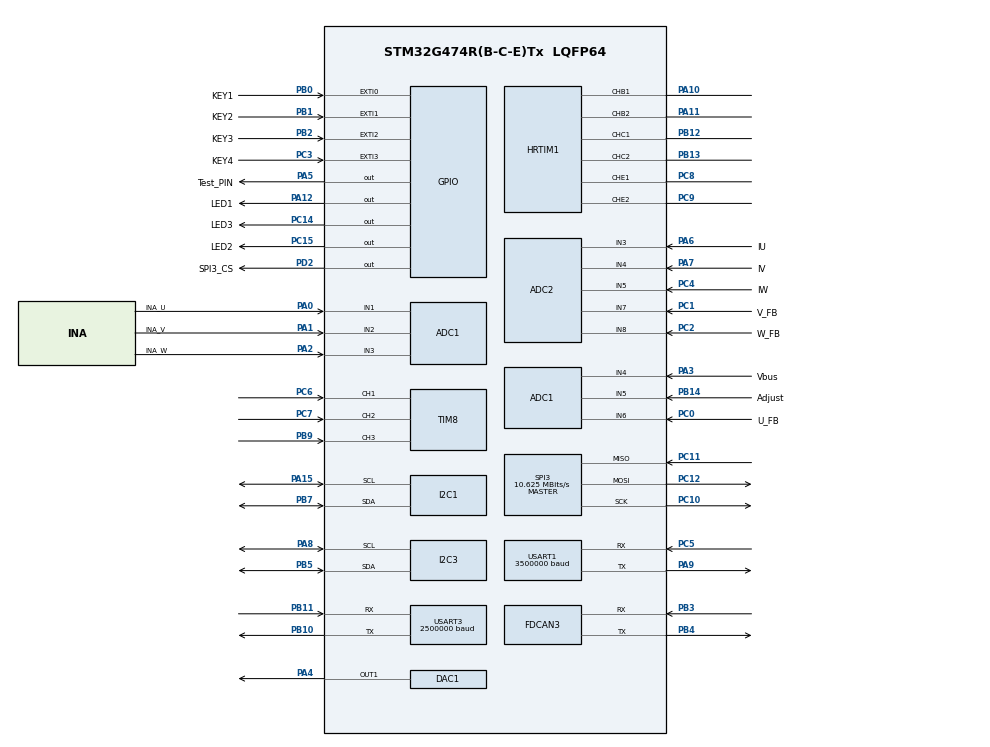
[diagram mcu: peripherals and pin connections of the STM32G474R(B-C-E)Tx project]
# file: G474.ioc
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ADC1.Channel-0\#ChannelRegularConversion=ADC_CHANNEL_4
ADC1.Channel-1\#ChannelRegularConversion=ADC_CHANNEL_5
ADC1.Channel-2\#ChannelRegularConversion=ADC_CHANNEL_6
ADC1.ClockPrescaler=ADC_CLOCK_SYNC_PCLK_DIV4
ADC1.ContinuousConvMode=ENABLE
ADC1.DMAContinuousRequests=DISABLE
ADC1.DiscontinuousConvMode=DISABLE
ADC1.EOCSelection=ADC_EOC_SEQ_CONV
ADC1.EnableInjectedConversion=ENABLE
ADC1.ExternalTrigInjecConv=ADC_EXTERNALTRIGINJEC_HRTIM_TRG2
ADC1.ExternalTrigInjecConvEdge=ADC_EXTERNALTRIGINJECCONV_EDGE_RISINGFALLING
ADC1.InjNumberOfConversion=3
ADC1.InjectedChannel-3\#ChannelInjectedConversion=ADC_CHANNEL_1
ADC1.InjectedChannel-4\#ChannelInjectedConversion=ADC_CHANNEL_2
ADC1.InjectedChannel-5\#ChannelInjectedConversion=ADC_CHANNEL_3
ADC1.InjectedConvMode=None
ADC1.InjectedOffsetNumber-3\#ChannelInjectedConversion=ADC_OFFSET_NONE
ADC1.InjectedOffsetNumber-4\#ChannelInjectedConversion=ADC_OFFSET_NONE
ADC1.InjectedOffsetNumber-5\#ChannelInjectedConversion=ADC_OFFSET_NONE
ADC1.InjectedRank-3\#ChannelInjectedConversion=1
ADC1.InjectedRank-4\#ChannelInjectedConversion=2
ADC1.InjectedRank-5\#ChannelInjectedConversion=3
ADC1.InjectedSamplingTime-3\#ChannelInjectedConversion=ADC_SAMPLETIME_2CYCLES_5
ADC1.InjectedSamplingTime-4\#ChannelInjectedConversion=ADC_SAMPLETIME_2CYCLES_5
ADC1.InjectedSamplingTime-5\#ChannelInjectedConversion=ADC_SAMPLETIME_2CYCLES_5
ADC1.NbrOfConversion=3
ADC1.NbrOfConversionFlag=1
ADC1.OffsetNumber-0\#ChannelRegularConversion=ADC_OFFSET_NONE
ADC1.OffsetNumber-1\#ChannelRegularConversion=ADC_OFFSET_NONE
ADC1.OffsetNumber-2\#ChannelRegularConversion=ADC_OFFSET_NONE
ADC1.Overrun=ADC_OVR_DATA_OVERWRITTEN
ADC1.Rank-0\#ChannelRegularConversion=1
ADC1.Rank-1\#ChannelRegularConversion=2
ADC1.Rank-2\#ChannelRegularConversion=3
ADC1.Rank1_Channel=ADC_CHANNEL_1
ADC1.Rank2_Channel=ADC_CHANNEL_2
ADC1.Rank3_Channel=ADC_CHANNEL_3
ADC1.SamplingTime-0\#ChannelRegularConversion=ADC_SAMPLETIME_2CYCLES_5
ADC1.SamplingTime-1\#ChannelRegularConversion=ADC_SAMPLETIME_2CYCLES_5
ADC1.SamplingTime-2\#ChannelRegularConversion=ADC_SAMPLETIME_2CYCLES_5
ADC1.master=1
ADC2.Channel-0\#ChannelRegularConversion=ADC_CHANNEL_7
ADC2.Channel-1\#ChannelRegularConversion=ADC_CHANNEL_8
ADC2.ContinuousConvMode=ENABLE
ADC2.DMAContinuousRequests=DISABLE
ADC2.EOCSelection=ADC_EOC_SEQ_CONV
ADC2.EnableInjectedConversion=ENABLE
ADC2.EnableInjectedOversampling=DISABLE
ADC2.ExternalTrigInjecConv=ADC_EXTERNALTRIGINJEC_HRTIM_TRG4
ADC2.InjNumberOfConversion=3
ADC2.InjectedChannel-2\#ChannelInjectedConversion=ADC_CHANNEL_3
ADC2.InjectedChannel-3\#ChannelInjectedConversion=ADC_CHANNEL_4
ADC2.InjectedChannel-4\#ChannelInjectedConversion=ADC_CHANNEL_5
ADC2.InjectedConvMode=None
ADC2.InjectedOffsetNumber-2\#ChannelInjectedConversion=ADC_OFFSET_NONE
ADC2.InjectedOffsetNumber-3\#ChannelInjectedConversion=ADC_OFFSET_NONE
ADC2.InjectedOffsetNumber-4\#ChannelInjectedConversion=ADC_OFFSET_NONE
ADC2.InjectedRank-2\#ChannelInjectedConversion=1
ADC2.InjectedRank-3\#ChannelInjectedConversion=2
ADC2.InjectedRank-4\#ChannelInjectedConversion=3
ADC2.InjectedSamplingTime-2\#ChannelInjectedConversion=ADC_SAMPLETIME_12CYCLES_5
ADC2.InjectedSamplingTime-3\#ChannelInjectedConversion=ADC_SAMPLETIME_12CYCLES_5
ADC2.InjectedSamplingTime-4\#ChannelInjectedConversion=ADC_SAMPLETIME_12CYCLES_5
ADC2.NbrOfConversion=2
ADC2.NbrOfConversionFlag=1
ADC2.OffsetNumber-0\#ChannelRegularConversion=ADC_OFFSET_NONE
ADC2.OffsetNumber-1\#ChannelRegularConversion=ADC_OFFSET_NONE
ADC2.Overrun=ADC_OVR_DATA_OVERWRITTEN
ADC2.Rank-0\#ChannelRegularConversion=1
ADC2.Rank-1\#ChannelRegularConversion=2
ADC2.Rank1_Channel=ADC_CHANNEL_3
ADC2.Rank2_Channel=ADC_CHANNEL_4
ADC2.Rank3_Channel=ADC_CHANNEL_5
ADC2.SamplingTime-0\#ChannelRegularConversion=ADC_SAMPLETIME_2CYCLES_5
ADC2.SamplingTime-1\#ChannelRegularConversion=ADC_SAMPLETIME_2CYCLES_5
ADC2.injectedQueueMode=DISABLE
DAC1.DAC_HighFrequency_OUT1-DAC_OUT1=DAC_HIGH_FREQUENCY_INTERFACE_MODE_ABOVE_160MHZ
Dma.Request0=USART1_RX
Dma.Request1=USART1_TX
Dma.Request2=USART3_RX
Dma.USART1_RX.0.Direction=DMA_PERIPH_TO_MEMORY
Dma.USART1_RX.0.EventEnable=DISABLE
Dma.USART1_RX.0.Instance=DMA1_Channel1
Dma.USART1_RX.0.MemDataAlignment=DMA_MDATAALIGN_BYTE
Dma.USART1_RX.0.MemInc=DMA_MINC_ENABLE
Dma.USART1_RX.0.Mode=DMA_NORMAL
Dma.USART1_RX.0.PeriphDataAlignment=DMA_PDATAALIGN_BYTE
Dma.USART1_RX.0.PeriphInc=DMA_PINC_DISABLE
Dma.USART1_RX.0.Polarity=HAL_DMAMUX_REQ_GEN_RISING
Dma.USART1_RX.0.Priority=DMA_PRIORITY_LOW
Dma.USART1_RX.0.RequestNumber=1
Dma.USART1_RX.0.SignalID=NONE
Dma.USART1_RX.0.SyncEnable=DISABLE
Dma.USART1_RX.0.SyncPolarity=HAL_DMAMUX_SYNC_NO_EVENT
Dma.USART1_RX.0.SyncRequestNumber=1
Dma.USART1_RX.0.SyncSignalID=NONE
Dma.USART1_TX.1.Direction=DMA_MEMORY_TO_PERIPH
Dma.USART1_TX.1.EventEnable=DISABLE
Dma.USART1_TX.1.Instance=DMA1_Channel2
Dma.USART1_TX.1.MemDataAlignment=DMA_MDATAALIGN_BYTE
Dma.USART1_TX.1.MemInc=DMA_MINC_ENABLE
Dma.USART1_TX.1.Mode=DMA_NORMAL
Dma.USART1_TX.1.PeriphDataAlignment=DMA_PDATAALIGN_BYTE
Dma.USART1_TX.1.PeriphInc=DMA_PINC_DISABLE
Dma.USART1_TX.1.Polarity=HAL_DMAMUX_REQ_GEN_RISING
Dma.USART1_TX.1.Priority=DMA_PRIORITY_LOW
Dma.USART1_TX.1.RequestNumber=1
Dma.USART1_TX.1.SignalID=NONE
Dma.USART1_TX.1.SyncEnable=DISABLE
Dma.USART1_TX.1.SyncPolarity=HAL_DMAMUX_SYNC_NO_EVENT
Dma.USART1_TX.1.SyncRequestNumber=1
Dma.USART1_TX.1.SyncSignalID=NONE
Dma.USART3_RX.2.Direction=DMA_PERIPH_TO_MEMORY
Dma.USART3_RX.2.EventEnable=DISABLE
Dma.USART3_RX.2.Instance=DMA1_Channel3
Dma.USART3_RX.2.MemDataAlignment=DMA_MDATAALIGN_BYTE
Dma.USART3_RX.2.MemInc=DMA_MINC_ENABLE
Dma.USART3_RX.2.Mode=DMA_NORMAL
Dma.USART3_RX.2.PeriphDataAlignment=DMA_PDATAALIGN_BYTE
Dma.USART3_RX.2.PeriphInc=DMA_PINC_DISABLE
Dma.USART3_RX.2.Polarity=HAL_DMAMUX_REQ_GEN_RISING
Dma.USART3_RX.2.Priority=DMA_PRIORITY_MEDIUM
Dma.USART3_RX.2.RequestNumber=1
Dma.USART3_RX.2.SignalID=NONE
Dma.USART3_RX.2.SyncEnable=DISABLE
Dma.USART3_RX.2.SyncPolarity=HAL_DMAMUX_SYNC_NO_EVENT
Dma.USART3_RX.2.SyncRequestNumber=1
Dma.USART3_RX.2.SyncSignalID=NONE
FDCAN3.CalculateBaudRateNominal=2125000
FDCAN3.CalculateTimeBitNominal=470
FDCAN3.CalculateTimeQuantumNominal=94.11764705882354
HRTIM1.ADCTrigger2_Source1=HRTIM_ADCTRIGGEREVENT24_TIMERC_RESET
HRTIM1.ADCTrigger4_Source1=HRTIM_ADCTRIGGEREVENT24_TIMERC_CMP4
HRTIM1.ADCTrigger_Id1=__NULL
HRTIM1.ADCTrigger_Id2=HRTIM_ADCTRIGGER_2
HRTIM1.ADCTrigger_Id4=HRTIM_ADCTRIGGER_4
HRTIM1.Adrom_TB=HRTIM_TIM_ADROM_BOTH
HRTIM1.Adrom_TC=HRTIM_TIM_ADROM_BOTH
HRTIM1.Adrom_TE=HRTIM_TIM_ADROM_BOTH
HRTIM1.CompareUnit1-Output_TB1TB2=HRTIM_COMPAREUNIT_1
HRTIM1.CompareUnit1-Output_TC1TC2=HRTIM_COMPAREUNIT_1
HRTIM1.CompareUnit1-Output_TE1TE2=HRTIM_COMPAREUNIT_1
HRTIM1.CompareUnit2-Output_TB1TB2=__NULL
HRTIM1.CompareUnit2-Output_TC1TC2=__NULL
HRTIM1.CompareUnit2-Output_TE1TE2=__NULL
HRTIM1.CompareUnit3-Output_TC1TC2=__NULL
HRTIM1.CompareUnit4-Output_TC1TC2=HRTIM_COMPAREUNIT_4
HRTIM1.CompareValue1-Output_TB1TB2=17000
HRTIM1.CompareValue1-Output_TC1TC2=17000
HRTIM1.CompareValue1-Output_TE1TE2=17000
HRTIM1.CompareValue4-Output_TC1TC2=0xc
HRTIM1.DeadTimeInsertion-Output_TB1TB2=HRTIM_TIMDEADTIMEINSERTION_ENABLED
HRTIM1.DeadTimeInsertion-Output_TC1TC2=HRTIM_TIMDEADTIMEINSERTION_ENABLED
HRTIM1.DeadTimeInsertion-Output_TE1TE2=HRTIM_TIMDEADTIMEINSERTION_ENABLED
HRTIM1.Deadtimeconfig-Output_TB1TB2=HRTIM_TIMERINDEX_TIMER_B
HRTIM1.Enable=HRTIM_BURSTMODECTL_DISABLED
HRTIM1.Event_EEV2=HRTIM_EVENT_2
HRTIM1.Event_EEV3=HRTIM_EVENT_3
HRTIM1.Event_EEV4=HRTIM_EVENT_4
HRTIM1.FallingValue-Output_TB1TB2=9
HRTIM1.FallingValue-Output_TC1TC2=9
HRTIM1.FallingValue-Output_TE1TE2=9
HRTIM1.FastMode_EEV2=HRTIM_EVENTFASTMODE_ENABLE
HRTIM1.FastMode_EEV3=HRTIM_EVENTFASTMODE_ENABLE
HRTIM1.FastMode_EEV4=HRTIM_EVENTFASTMODE_ENABLE
HRTIM1.FaultLevel1-Output_TB1TB2=HRTIM_OUTPUTFAULTLEVEL_INACTIVE
HRTIM1.FaultLevel1-Output_TC1TC2=HRTIM_OUTPUTFAULTLEVEL_INACTIVE
HRTIM1.FaultLevel1-Output_TE1TE2=HRTIM_OUTPUTFAULTLEVEL_INACTIVE
HRTIM1.FaultLevel2-Output_TB1TB2=HRTIM_OUTPUTFAULTLEVEL_INACTIVE
HRTIM1.FaultLevel2-Output_TC1TC2=HRTIM_OUTPUTFAULTLEVEL_INACTIVE
HRTIM1.FaultLevel2-Output_TE1TE2=HRTIM_OUTPUTFAULTLEVEL_INACTIVE
HRTIM1.Fault_Line4=__NULL
HRTIM1.Ferom_TC=HRTIM_TIM_FEROM_BOTH
HRTIM1.NumberADCTriggerSource2=1
HRTIM1.NumberADCTriggerSource4=1
HRTIM1.NumberResetSource1-Output_TB1TB2=0
HRTIM1.NumberResetSource1-Output_TC1TC2=0
HRTIM1.NumberResetSource1-Output_TE1TE2=0
HRTIM1.NumberSetSource1-Output_TB1TB2=1
HRTIM1.NumberSetSource1-Output_TC1TC2=1
HRTIM1.NumberSetSource1-Output_TE1TE2=1
HRTIM1.ORingUpdateSource_ADCTrigger2=HRTIM_ADCTRIGGERUPDATE_TIMER_C
HRTIM1.ORingUpdateSource_ADCTrigger4=HRTIM_ADCTRIGGERUPDATE_TIMER_C
HRTIM1.Periode_TB=34000
HRTIM1.Periode_TC=34000
HRTIM1.Periode_TE=34000
HRTIM1.PreloadEnable-Output_TB1TB2=HRTIM_PRELOAD_DISABLED
HRTIM1.PreloadEnable-Output_TC1TC2=HRTIM_PRELOAD_DISABLED
HRTIM1.PreloadEnable-Output_TE1TE2=HRTIM_PRELOAD_DISABLED
HRTIM1.PrescalerDead-Output_TB1TB2=HRTIM_TIMDEADTIME_PRESCALERRATIO_DIV4
HRTIM1.PrescalerDead-Output_TC1TC2=HRTIM_TIMDEADTIME_PRESCALERRATIO_DIV4
HRTIM1.PrescalerDead-Output_TE1TE2=HRTIM_TIMDEADTIME_PRESCALERRATIO_DIV4
HRTIM1.PrescalerRatio_TB=HRTIM_PRESCALERRATIO_MUL4
HRTIM1.PrescalerRatio_TC=HRTIM_PRESCALERRATIO_MUL4
HRTIM1.PrescalerRatio_TE=HRTIM_PRESCALERRATIO_MUL4
HRTIM1.RepetitionUpdate-Output_TB1TB2=HRTIM_UPDATEONREPETITION_DISABLED
HRTIM1.ResetUpdate-Output_TC1TC2=HRTIM_TIMUPDATEONRESET_DISABLED
HRTIM1.RisingValue-Output_TB1TB2=9
HRTIM1.RisingValue-Output_TC1TC2=9
HRTIM1.RisingValue-Output_TE1TE2=9
HRTIM1.SetOutput1_Source1-Output_TB1TB2=HRTIM_OUTPUTSET_TIMCMP1
HRTIM1.SetOutput1_Source1-Output_TC1TC2=HRTIM_OUTPUTSET_TIMCMP1
HRTIM1.SetOutput1_Source1-Output_TE1TE2=HRTIM_OUTPUTSET_TIMCMP1
HRTIM1.UpDownMode-Output_TB1TB2=HRTIM_TIMERUPDOWNMODE_UPDOWN
HRTIM1.UpDownMode-Output_TC1TC2=HRTIM_TIMERUPDOWNMODE_UPDOWN
HRTIM1.UpDownMode-Output_TE1TE2=HRTIM_TIMERUPDOWNMODE_UPDOWN
HRTIM1.postscaler2=0
I2C1.Timing=0x30A0A7FB
I2C3.Timing=0x30A0A7FB
Mcu.Family=STM32G4
Mcu.Name=STM32G474R(B-C-E)Tx
Mcu.Package=LQFP64
NVIC.ADC1_2_IRQn=true\:0\:0\:false\:false\:true\:true\:true\:true
NVIC.DMA1_Channel1_IRQn=true\:0\:0\:false\:false\:true\:false\:true\:true
NVIC.DMA1_Channel2_IRQn=true\:0\:0\:false\:false\:true\:false\:true\:true
NVIC.DMA1_Channel3_IRQn=true\:0\:0\:false\:false\:true\:false\:true\:true
NVIC.EXTI0_IRQn=true\:0\:0\:true\:false\:true\:true\:true\:true
NVIC.EXTI1_IRQn=true\:0\:0\:true\:false\:true\:true\:true\:true
NVIC.EXTI2_IRQn=true\:0\:0\:true\:false\:true\:true\:true\:true
NVIC.EXTI3_IRQn=true\:0\:0\:true\:false\:true\:true\:true\:true
NVIC.PriorityGroup=NVIC_PRIORITYGROUP_4
NVIC.USART1_IRQn=true\:0\:0\:true\:false\:true\:true\:true\:true
NVIC.USART3_IRQn=true\:0\:0\:true\:false\:true\:true\:true\:true
PA0.GPIO_Label=INA_U
PA0.Mode=IN1-Single-Ended
PA0.Signal=ADC1_IN1
PA1.GPIO_Label=INA_V
PA1.Mode=IN2-Single-Ended
PA1.Signal=ADC1_IN2
PA10.Mode=Output_TB1TB2
PA10.Signal=HRTIM1_CHB1
PA11.Mode=Output_TB1TB2
PA11.Signal=HRTIM1_CHB2
PA12.GPIO_Label=LED1
PA12.Signal=GPIO_Output
PA13.Mode=Serial_Wire
PA13.Signal=SYS_JTMS-SWDIO
PA14.Mode=Serial_Wire
PA14.Signal=SYS_JTCK-SWCLK
PA15.Mode=I2C
PA15.Signal=I2C1_SCL
PA2.GPIO_Label=INA_W
PA2.Mode=IN3-Single-Ended
PA2.Signal=ADC1_IN3
PA3.GPIO_Label=Vbus
PA3.Mode=IN4-Single-Ended
PA3.Signal=ADC1_IN4
PA4.Signal=COMP_DAC11_group
PA5.GPIO_Label=Test_PIN
PA5.GPIO_Speed=GPIO_SPEED_FREQ_VERY_HIGH
PA5.Signal=GPIO_Output
PA6.GPIO_Label=IU
PA6.Mode=IN3-Single-Ended
PA6.Signal=ADC2_IN3
PA7.GPIO_Label=IV
PA7.Mode=IN4-Single-Ended
PA7.Signal=ADC2_IN4
PA8.Mode=I2C
PA8.Signal=I2C3_SCL
PA9.Mode=Asynchronous
PA9.Signal=USART1_TX
PB0.GPIO_Label=KEY1
PB0.Signal=GPXTI0
PB1.GPIO_Label=KEY2
PB1.Signal=GPXTI1
PB10.GPIO_Speed=GPIO_SPEED_FREQ_VERY_HIGH
PB10.Mode=Asynchronous
PB10.Signal=USART3_TX
PB11.GPIO_Speed=GPIO_SPEED_FREQ_VERY_HIGH
PB11.Mode=Asynchronous
PB11.Signal=USART3_RX
PB12.Mode=Output_TC1TC2
PB12.Signal=HRTIM1_CHC1
PB13.Mode=Output_TC1TC2
PB13.Signal=HRTIM1_CHC2
PB14.GPIO_Label=Adjust
PB14.Mode=IN5-Single-Ended
PB14.Signal=ADC1_IN5
PB2.GPIO_Label=KEY3
PB2.Signal=GPXTI2
PB3.Mode=FDCAN_Activate
PB3.Signal=FDCAN3_RX
PB4.Mode=FDCAN_Activate
PB4.Signal=FDCAN3_TX
PB5.Mode=I2C
PB5.Signal=I2C3_SDA
PB7.Mode=I2C
PB7.Signal=I2C1_SDA
PB9.Signal=S_TIM8_CH3
PC0.GPIO_Label=U_FB
PC0.Mode=IN6-Single-Ended
PC0.Signal=ADC1_IN6
PC1.GPIO_Label=V_FB
PC1.Mode=IN7-Single-Ended
PC1.Signal=ADC2_IN7
PC10.Mode=Full_Duplex_Master
PC10.Signal=SPI3_SCK
PC11.Mode=Full_Duplex_Master
PC11.Signal=SPI3_MISO
PC12.Mode=Full_Duplex_Master
PC12.Signal=SPI3_MOSI
PC14-OSC32_IN.GPIO_Label=LED3
PC14-OSC32_IN.Signal=GPIO_Output
PC15-OSC32_OUT.GPIO_Label=LED2
PC15-OSC32_OUT.Signal=GPIO_Output
PC2.GPIO_Label=W_FB
PC2.Mode=IN8-Single-Ended
PC2.Signal=ADC2_IN8
PC3.GPIO_Label=KEY4
PC3.Signal=GPXTI3
PC4.GPIO_Label=IW
PC4.Mode=IN5-Single-Ended
PC4.Signal=ADC2_IN5
PC5.Mode=Asynchronous
PC5.Signal=USART1_RX
PC6.Signal=S_TIM8_CH1
PC7.Signal=S_TIM8_CH2
PC8.Mode=Output_TE1TE2
PC8.Signal=HRTIM1_CHE1
PC9.Mode=Output_TE1TE2
PC9.Signal=HRTIM1_CHE2
PD2.GPIO_Label=SPI3_CS
PD2.Signal=GPIO_Output
PF0-OSC_IN.Mode=HSE-External-Oscillator
PF0-OSC_IN.Signal=RCC_OSC_IN
PF1-OSC_OUT.Mode=HSE-External-Oscillator
PF1-OSC_OUT.Signal=RCC_OSC_OUT
ProjectManager.HeapSize=0x200
ProjectManager.StackSize=0x400
ProjectManager.TargetToolchain=MDK-ARM V5.32
RCC.ADC12CLockSelection=RCC_ADC12CLKSOURCE_PLL
RCC.ADC12Freq_Value=170000000
RCC.ADC345Freq_Value=170000000
RCC.AHBFreq_Value=170000000
RCC.APB1Freq_Value=170000000
RCC.APB1TimFreq_Value=170000000
RCC.APB2CLKDivider=RCC_HCLK_DIV2
RCC.APB2Freq_Value=85000000
RCC.APB2TimFreq_Value=170000000
RCC.CortexFreq_Value=170000000
RCC.EXTERNAL_CLOCK_VALUE=12288000
RCC.HCLKFreq_Value=170000000
RCC.HSE_VALUE=12000000
RCC.HSI48_VALUE=48000000
RCC.HSI_VALUE=16000000
RCC.LSE_VALUE=32768
RCC.PLLM=RCC_PLLM_DIV3
RCC.PLLN=85
RCC.PLLSourceVirtual=RCC_PLLSOURCE_HSE
RCC.SYSCLKFreq_VALUE=170000000
RCC.SYSCLKSource=RCC_SYSCLKSOURCE_PLLCLK
RCC.USBFreq_Value=170000000
RCC.VCOOutputFreq_Value=340000000
SH.COMP_DAC11_group.0=DAC1_OUT1,DAC_OUT1
SH.S_TIM8_CH1.0=TIM8_CH1,Xored_Inputs_Hall_Sensor_Interface
SH.S_TIM8_CH2.0=TIM8_CH2,Xored_Inputs_Hall_Sensor_Interface
SH.S_TIM8_CH3.0=TIM8_CH3,Xored_Inputs_Hall_Sensor_Interface
SPI3.BaudRatePrescaler=SPI_BAUDRATEPRESCALER_16
SPI3.CalculateBaudRate=10.625 MBits/s
SPI3.DataSize=SPI_DATASIZE_16BIT
SPI3.Direction=SPI_DIRECTION_2LINES
SPI3.Mode=SPI_MODE_MASTER
SPI3.VirtualType=VM_MASTER
STMicroelectronics.X-CUBE-ALGOBUILD.1.4.0.LibraryCcDSPOoLibraryJjDSPOoLibrary=true
USART1.BaudRate=3500000
USART1.VirtualMode-Asynchronous=VM_ASYNC
USART3.BaudRate=2500000
USART3.VirtualMode-Asynchronous=VM_ASYNC
VP_CORDIC_VS_CORDIC.Mode=CORDIC_Activate
VP_HRTIM1_VS_hrtimMasterTimerNoOutput.Mode=MasterTimer
VP_STMicroelectronics.X-CUBE-ALGOBUILD_VS_DSPOoLibraryJjLibrary_1.4.0_1.4.0.Mode=DSPOoLibraryJjLibrary
VP_SYS_VS_DBSignals.Mode=DisableDeadBatterySignals
board=custom

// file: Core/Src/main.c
/* USER CODE BEGIN Header */
/**
  ******************************************************************************
  * @file           : main.c
  * @brief          : Main program body
  ******************************************************************************
  * @attention
  *
  * Copyright (c) 2024 STMicroelectronics.
  * All rights reserved.
  *
  * This software is licensed under terms that can be found in the LICENSE file
  * in the root directory of this software component.
  * If no LICENSE file comes with this software, it is provided AS-IS.
  *
  ******************************************************************************
  */
/* USER CODE END Header */
#include "main.h"
#include "adc.h"
#include "cordic.h"
#include "dac.h"
#include "dma.h"
#include "fdcan.h"
#include "hrtim.h"
#include "i2c.h"
#include "spi.h"
#include "tim.h"
#include "usart.h"
#include "gpio.h"

/* USER CODE BEGIN Includes */
#include "serial.h"

#include "mc_lib.h"
#include "cordic_calc.h"
#include "IF_StateMachine.h"
#include "PI.h"
/* USER CODE END Includes */

/* USER CODE BEGIN PTD */
int Run_Flag = 1;
/* USER CODE END PTD */

/* USER CODE BEGIN PM */
uint16_t aDST_Buffer1[ADC1_BUFFER_SIZE]; //Adjust, V_FB, Vbus,
uint16_t aDST_Buffer2[ADC2_BUFFER_SIZE]; //U_FB, W_FB
/* USER CODE END PM */

/* USER CODE BEGIN PV */
extern uint8_t rxBuffer_uart1[BUFFER_SIZE_UART1];
extern uint8_t rxBuffer_uart3[BUFFER_SIZE_UART3];
float Adjust, V_FB, Vbus, U_FB, W_FB;
extern float speedRef;

/* USER CODE END PV */

void SystemClock_Config(void);

/* USER CODE BEGIN 0 */
void ADC_Regular_DMA_Start(void);
void UART_RX_Idle_Start(void);
/* USER CODE END 0 */

int main(void)
{

  /* MCU Configuration--------------------------------------------------------*/

  /* Reset of all peripherals, Initializes the Flash interface and the Systick. */
  HAL_Init();

  /* Configure the system clock */
  SystemClock_Config();

  /* Initialize all configured peripherals */
  MX_GPIO_Init();
  MX_DMA_Init();
  MX_HRTIM1_Init();
  MX_ADC1_Init();
  MX_ADC2_Init();
  MX_DAC1_Init();
  MX_FDCAN3_Init();
  MX_I2C1_Init();
  MX_I2C3_Init();
  MX_SPI3_Init();
  MX_TIM8_Init();
  MX_USART1_UART_Init();
  MX_USART3_UART_Init();
  MX_CORDIC_Init();
  /* USER CODE BEGIN 2 */
//	__HAL_UART_CLEAR_FLAG(&huart3, UART_CLEAR_IDLEF);
	HAL_UARTEx_ReceiveToIdle_DMA(&huart1, rxBuffer_uart1, BUFFER_SIZE_UART1);
	HAL_UARTEx_ReceiveToIdle_DMA(&huart3, rxBuffer_uart3, BUFFER_SIZE_UART3);
	Run_Flag = 0;
	HRTIM_Start();
	ADC_Start();
	PI_Initialize();

	FOC_handler.Vbus = 30.0F;
	SVM_handler.PWMtimerCounts = 17000.0F;
	encoder_Handler.offsetPos = 0.16F;
	speedRef = 800.0F;

	LL_DAC_Enable(DAC1, LL_DAC_CHANNEL_1);

  /* Set duty to 0 */
  LL_HRTIM_TIM_SetCompare1(HRTIM1, LL_HRTIM_TIMER_B, 0);
  LL_HRTIM_TIM_SetCompare1(HRTIM1, LL_HRTIM_TIMER_C, 0);
  LL_HRTIM_TIM_SetCompare1(HRTIM1, LL_HRTIM_TIMER_E, 0);

  /* USER CODE END 2 */

  /* Infinite loop */
  while (1)
  {

  }
}

void SystemClock_Config(void)
{
  LL_FLASH_SetLatency(LL_FLASH_LATENCY_4);
  while(LL_FLASH_GetLatency() != LL_FLASH_LATENCY_4)
  {
  }
  LL_PWR_EnableRange1BoostMode();
  LL_RCC_HSE_Enable();
   /* Wait till HSE is ready */
  while(LL_RCC_HSE_IsReady() != 1)
  {
  }

  LL_RCC_PLL_ConfigDomain_SYS(LL_RCC_PLLSOURCE_HSE, LL_RCC_PLLM_DIV_3, 85, LL_RCC_PLLR_DIV_2);
  LL_RCC_PLL_ConfigDomain_ADC(LL_RCC_PLLSOURCE_HSE, LL_RCC_PLLM_DIV_3, 85, LL_RCC_PLLP_DIV_2);
  LL_RCC_PLL_EnableDomain_SYS();
  LL_RCC_PLL_EnableDomain_ADC();
  LL_RCC_PLL_Enable();
   /* Wait till PLL is ready */
  while(LL_RCC_PLL_IsReady() != 1)
  {
  }

  LL_RCC_SetSysClkSource(LL_RCC_SYS_CLKSOURCE_PLL);
  LL_RCC_SetAHBPrescaler(LL_RCC_SYSCLK_DIV_2);
   /* Wait till System clock is ready */
  while(LL_RCC_GetSysClkSource() != LL_RCC_SYS_CLKSOURCE_STATUS_PLL)
  {
  }

  /* Insure 1us transition state at intermediate medium speed clock*/
  for (__IO uint32_t i = (170 >> 1); i !=0; i--);

  /* Set AHB prescaler*/
  LL_RCC_SetAHBPrescaler(LL_RCC_SYSCLK_DIV_1);
  LL_RCC_SetAPB1Prescaler(LL_RCC_APB1_DIV_1);
  LL_RCC_SetAPB2Prescaler(LL_RCC_APB2_DIV_2);
  LL_SetSystemCoreClock(170000000);

   /* Update the time base */
  if (HAL_InitTick (TICK_INT_PRIORITY) != HAL_OK)
  {
    Error_Handler();
  }
}

/* USER CODE BEGIN 4 */
void ADC_Regular_DMA_Start(void)
{
	LL_DMA_SetDataLength(DMA1,LL_DMA_CHANNEL_5,ADC1_BUFFER_SIZE);
	LL_DMA_SetPeriphAddress(DMA1,LL_DMA_CHANNEL_5,LL_ADC_DMA_GetRegAddr(ADC1, LL_ADC_DMA_REG_REGULAR_DATA));
	LL_DMA_SetMemoryAddress(DMA1,LL_DMA_CHANNEL_5,(uint32_t)aDST_Buffer1);
	LL_DMA_EnableChannel(DMA1,LL_DMA_CHANNEL_5);
	LL_ADC_REG_SetDMATransfer(ADC1,LL_ADC_REG_DMA_TRANSFER_UNLIMITED);

	LL_DMA_SetDataLength(DMA1,LL_DMA_CHANNEL_6,ADC2_BUFFER_SIZE);
	LL_DMA_SetPeriphAddress(DMA1,LL_DMA_CHANNEL_6,LL_ADC_DMA_GetRegAddr(ADC2, LL_ADC_DMA_REG_REGULAR_DATA));
	LL_DMA_SetMemoryAddress(DMA1,LL_DMA_CHANNEL_6,(uint32_t)aDST_Buffer2);
	LL_DMA_EnableChannel(DMA1,LL_DMA_CHANNEL_6);
	LL_ADC_REG_SetDMATransfer(ADC1,LL_ADC_REG_DMA_TRANSFER_UNLIMITED);
}

void UART_RX_Idle_Start(void)
{
	HAL_UARTEx_ReceiveToIdle_DMA(&huart1, rxBuffer_uart1, BUFFER_SIZE_UART1);
	HAL_UARTEx_ReceiveToIdle_DMA(&huart3, rxBuffer_uart3, BUFFER_SIZE_UART3);
}

/* USER CODE END 4 */

void Error_Handler(void)
{
  __disable_irq();
  while (1)
  {
  }
}
